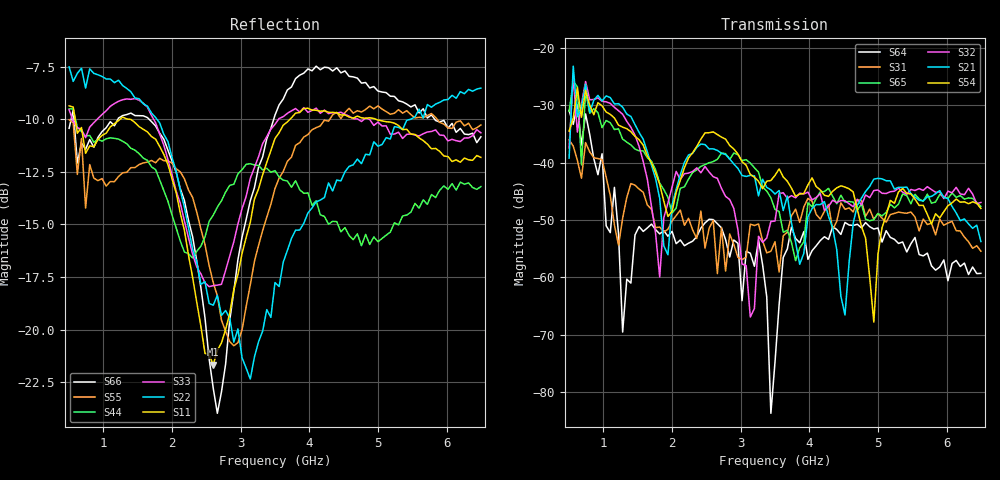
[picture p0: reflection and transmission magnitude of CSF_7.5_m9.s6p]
!Keysight Technologies,M9804A,MY58100912,A.14.10.03
!Date: Thursday, April 27, 2023 10:28:33
!Correction: S11(C  6-Port  )
!S12(C  6-Port  )
!S13(C  6-Port  )
!S14(C  6-Port  )
!S15(C  6-Port  )
!S16(C  6-Port  )
!S21(C  6-Port  )
!S22(C  6-Port  )
!S23(C  6-Port  )
!S24(C  6-Port  )
!S25(C  6-Port  )
!S26(C  6-Port  )
!S31(C  6-Port  )
!S32(C  6-Port  )
!S33(C  6-Port  )
!S34(C  6-Port  )
!S35(C  6-Port  )
!S36(C  6-Port  )
!S41(C  6-Port  )
!S42(C  6-Port  )
!S43(C  6-Port  )
!S44(C  6-Port  )
!S45(C  6-Port  )
!S46(C  6-Port  )
!S51(C  6-Port  )
!S52(C  6-Port  )
!S53(C  6-Port  )
!S54(C  6-Port  )
!S55(C  6-Port  )
!S56(C  6-Port  )
!S61(C  6-Port  )
!S62(C  6-Port  )
!S63(C  6-Port  )
!S64(C  6-Port  )
!S65(C  6-Port  )
!S66(C  6-Port  )
!S6P File: Measurement: :
# Hz S  RI  R 50
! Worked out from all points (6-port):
!   101 points, 500 MHz to 6.5 GHz, reference 50 ohm
!   strongest paths, dB at 500 MHz, 2 GHz, 3.5 GHz, 5 GHz, 6.5 GHz:
!     S54: -34.5, -48.5, -42.2, -56.0, -48.0
!     S21: -39.2, -47.4, -45.5, -42.7, -53.7
!     S32: -37.4, -44.2, -50.2, -44.8, -46.9
!     S65: -31.0, -48.8, -48.1, -48.9, -47.6
!     S31: -36.0, -50.1, -53.8, -48.9, -55.4
!     S64: -30.9, -52.0, -74.8, -51.4, -59.3
!   lowest |S11| = -21.7 dB at 2.6 GHz (marker M1), VSWR 1.18, Z = 42.6 + j2.03 ohm
!   |S11| at or under -10 dB: 587.7 MHz to 1.244 GHz (656.6 MHz wide, 71.7 % of centre); 1.367 GHz to 3.72 GHz (2.353 GHz wide, 92.5 % of centre); 4.966 GHz to end of sweep
